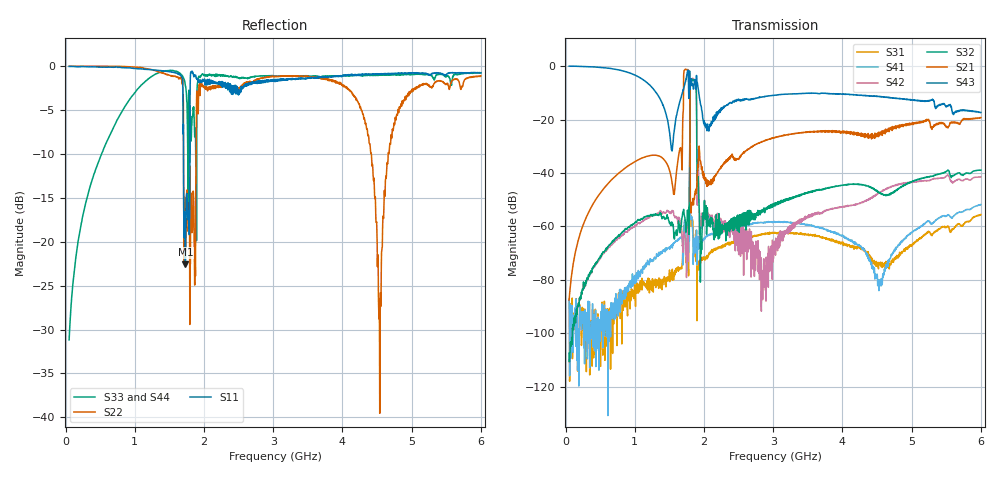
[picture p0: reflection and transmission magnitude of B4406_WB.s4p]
! Matrix data file written by TouchstoneData, EPCOS AG
! FILENAME: "ptable_B4406_02_WB_matched.s4p"
! COMMENT: "S4P matched (B4406_02_WB_matched.s4p)"
! INFO: nport=4, nfreq=1601
! DATE: "Wed Feb 13 20:40:24 2013"
! USER: "Michael Schemies"
! port | pin | signal
!  1  |  3  |  Tx
!  2  |  6  |  Ant
!  3  |  8  |  Rx
!  4  |  1  |  Rx
# MHZ S RI R 50
! freq  reS11 imS11  reS12 imS12  reS13 imS13  reS14 imS14  ...
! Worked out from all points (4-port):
!   1601 points, 50 MHz to 6 GHz, reference 50 ohm
!   strongest paths, dB at 50 MHz, 1.538 GHz, 3.025 GHz, 4.513 GHz, 6 GHz:
!     S43: 0.0, -31.8, -10.9, -11.4, -17.4
!     S21: -87.6, -43.6, -26.7, -25.3, -19.3
!     S32: -107.5, -58.5, -51.8, -47.1, -38.9
!     S42: -107.6, -54.1, -66.6, -47.8, -41.5
!     S41: -87.8, -66.9, -58.3, -81.9, -51.8
!     S31: -87.3, -79.8, -62.5, -73.5, -55.6
!   lowest |S11| = -22.6 dB at 1.731 GHz (marker M1), VSWR 1.16, Z = 43.5 - j2.57 ohm
!   |S11| at or under -10 dB: 1.703 GHz to 1.795 GHz (92.62 MHz wide, 5.3 % of centre)
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50  0.9946 -0.0615  -4.17e-05 3.11e-06  -3.7e-05 2.23e-05  -3.36e-05 2.32e-05
    -4.17e-05 3.11e-06  -0.9988 0.049  -4.14e-06 -7.18e-07  -4.1e-06 -6.1e-07
    -3.7e-05 2.23e-05  -4.14e-06 -7.18e-07  -0.000198 0.0276  0.9969 -0.0478
    -3.36e-05 2.32e-05  -4.1e-06 -6.1e-07  0.9969 -0.0478  -0.000322 0.0276
1567.25  -0.7119 -0.5854  0.000148 0.00397  -0.000116 -3.27e-06  -0.000481 -1.21e-05
         0.000148 0.00397  0.6223 -0.6159  7.09e-05 0.000729  0.00115 0.00108
         -0.000116 -3.27e-06  7.09e-05 0.000729  0.6934 -0.6359  0.0546 0.0227
         -0.000481 -1.21e-05  0.00115 0.00108  0.0546 0.0227  0.7719 -0.549
1730.875  -0.0683 -0.0294  0.7077 0.5061  0.0003 0.000483  -0.000166 0.000936
          0.7077 0.5061  -0.00271 0.0876  -0.000151 0.00118  0.000362 0.000412
          0.0003 0.000483  -0.000151 0.00118  0.1966 -0.7417  0.4941 0.0973
          -0.000166 0.000936  0.000362 0.000412  0.4941 0.0973  0.2788 -0.7113
1838.719  0.0213 -0.9172  -0.0026 0.000639  -0.00122 -0.000251  0.000645 7.46e-05
          -0.0026 0.000639  0.0418 0.1721  0.2728 -0.483  -0.3151 0.4996
          -0.00122 -0.000251  0.2728 -0.483  0.4148 -0.3533  0.2597 -0.367
          0.000645 7.46e-05  -0.3151 0.4996  0.2597 -0.367  0.4271 -0.2687
1961.438  -0.558 -0.6145  0.00874 0.00794  -0.000258 1.05e-05  -0.000507 3.56e-06
          0.00874 0.00794  0.7831 -0.042  -0.000303 0.000395  0.000746 0.00143
          -0.000258 1.05e-05  -0.000303 0.000395  0.7156 -0.5204  -0.0328 -0.1662
          -0.000507 3.56e-06  0.000746 0.00143  -0.0328 -0.1662  0.7992 -0.3968
2824.188  -0.5755 0.5842  0.000696 0.0381  -0.000449 0.000548  -0.000661 0.00098
          0.000696 0.0381  -0.4266 -0.739  -0.00163 0.00106  -5.35e-07 -3.68e-05
          -0.000449 0.000548  -0.00163 0.00106  0.1289 -0.871  0.2633 0.0149
          -0.000661 0.00098  -5.35e-07 -3.68e-05  0.2633 0.0149  0.235 -0.8392
6000  0.7795 -0.4797  0.1063 -0.0232  -0.00152 -0.000676  -0.00254 -0.000313
      0.1063 -0.0232  -0.8229 -0.3134  -0.00517 0.01  -0.00421 0.00727
      -0.00152 -0.000676  -0.00517 0.01  -0.715 -0.5761  0.0741 -0.1134
      -0.00254 -0.000313  -0.00421 0.00727  0.0741 -0.1134  -0.7399 -0.5461
